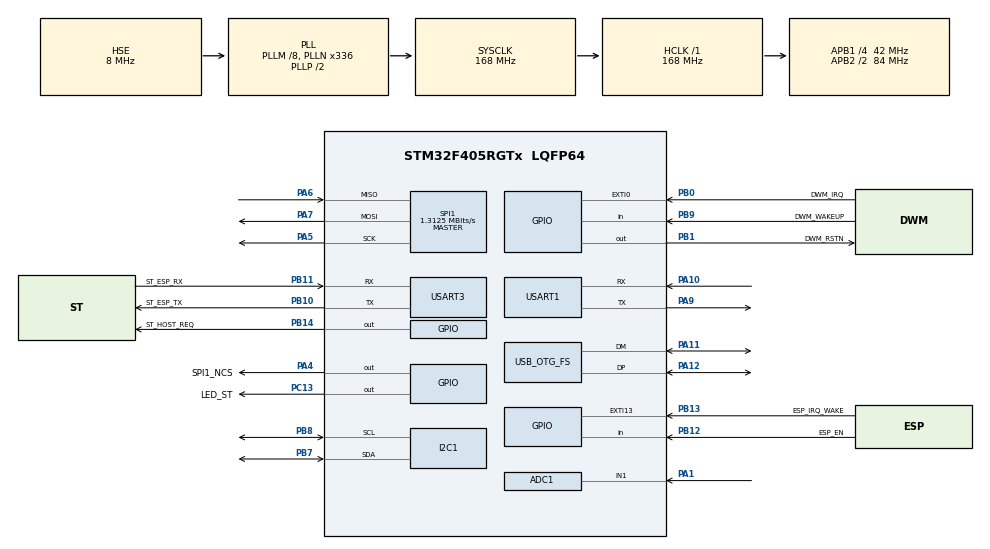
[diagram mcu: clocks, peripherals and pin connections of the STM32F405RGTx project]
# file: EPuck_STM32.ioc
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ADC1.Channel-0\#ChannelRegularConversion=ADC_CHANNEL_1
ADC1.NbrOfConversionFlag=1
ADC1.Rank-0\#ChannelRegularConversion=1
ADC1.SamplingTime-0\#ChannelRegularConversion=ADC_SAMPLETIME_3CYCLES
ADC1.master=1
Mcu.Family=STM32F4
Mcu.Name=STM32F405RGTx
Mcu.Package=LQFP64
NVIC.EXTI0_IRQn=true\:5\:0\:true\:false\:true\:true\:true\:true
NVIC.OTG_FS_IRQn=true\:0\:0\:false\:false\:true\:false\:true\:true
NVIC.PriorityGroup=NVIC_PRIORITYGROUP_4
PA1.Signal=ADCx_IN1
PA10.Mode=Asynchronous
PA10.Signal=USART1_RX
PA11.Mode=Device_Only
PA11.Signal=USB_OTG_FS_DM
PA12.Mode=Device_Only
PA12.Signal=USB_OTG_FS_DP
PA13.Mode=Serial_Wire
PA13.Signal=SYS_JTMS-SWDIO
PA14.Mode=Serial_Wire
PA14.Signal=SYS_JTCK-SWCLK
PA4.GPIO_Label=SPI1_NCS
PA4.PinState=GPIO_PIN_SET
PA4.Signal=GPIO_Output
PA5.GPIO_Speed=GPIO_SPEED_FREQ_VERY_HIGH
PA5.Mode=Full_Duplex_Master
PA5.Signal=SPI1_SCK
PA6.GPIO_Speed=GPIO_SPEED_FREQ_VERY_HIGH
PA6.Mode=Full_Duplex_Master
PA6.Signal=SPI1_MISO
PA7.GPIO_Speed=GPIO_SPEED_FREQ_VERY_HIGH
PA7.Mode=Full_Duplex_Master
PA7.Signal=SPI1_MOSI
PA9.Mode=Asynchronous
PA9.Signal=USART1_TX
PB0.GPIO_Label=DWM_IRQ
PB0.Signal=GPXTI0
PB1.GPIO_Label=DWM_RSTN
PB1.PinState=GPIO_PIN_SET
PB1.Signal=GPIO_Output
PB10.GPIO_Label=ST_ESP_TX
PB10.Mode=Asynchronous
PB10.Signal=USART3_TX
PB11.GPIO_Label=ST_ESP_RX
PB11.Mode=Asynchronous
PB11.Signal=USART3_RX
PB12.GPIO_Label=ESP_EN
PB12.Signal=GPIO_Input
PB13.GPIO_Label=ESP_IRQ_WAKE
PB13.Signal=GPXTI13
PB14.GPIO_Label=ST_HOST_REQ
PB14.Signal=GPIO_Output
PB3.Signal=SYS_JTDO-SWO
PB7.Mode=I2C
PB7.Signal=I2C1_SDA
PB8.Mode=I2C
PB8.Signal=I2C1_SCL
PB9.GPIO_Label=DWM_WAKEUP
PB9.Signal=GPIO_Input
PC13-ANTI_TAMP.GPIO_Label=LED_ST
PC13-ANTI_TAMP.Signal=GPIO_Output
PH0-OSC_IN.Mode=HSE-External-Oscillator
PH0-OSC_IN.Signal=RCC_OSC_IN
PH1-OSC_OUT.Mode=HSE-External-Oscillator
PH1-OSC_OUT.Signal=RCC_OSC_OUT
ProjectManager.HeapSize=0x200
ProjectManager.StackSize=0x400
ProjectManager.TargetToolchain=CMake
RCC.48MHZClocksFreq_Value=48000000
RCC.AHBFreq_Value=168000000
RCC.APB1CLKDivider=RCC_HCLK_DIV4
RCC.APB1Freq_Value=42000000
RCC.APB1TimFreq_Value=84000000
RCC.APB2CLKDivider=RCC_HCLK_DIV2
RCC.APB2Freq_Value=84000000
RCC.APB2TimFreq_Value=168000000
RCC.CortexFreq_Value=168000000
RCC.HCLKFreq_Value=168000000
RCC.HSE_VALUE=8000000
RCC.HSI_VALUE=16000000
RCC.LSE_VALUE=32768
RCC.PLLM=8
RCC.PLLN=336
RCC.PLLQ=7
RCC.SYSCLKFreq_VALUE=168000000
RCC.SYSCLKSource=RCC_SYSCLKSOURCE_PLLCLK
RCC.VCOOutputFreq_Value=336000000
SH.ADCx_IN1.0=ADC1_IN1,IN1
SPI1.BaudRatePrescaler=SPI_BAUDRATEPRESCALER_64
SPI1.CalculateBaudRate=1.3125 MBits/s
SPI1.Direction=SPI_DIRECTION_2LINES
SPI1.Mode=SPI_MODE_MASTER
SPI1.VirtualType=VM_MASTER
USART1.VirtualMode=VM_ASYNC
USART3.VirtualMode=VM_ASYNC
USB_DEVICE.CLASS_NAME_FS=CDC
USB_DEVICE.VirtualMode-CDC_FS=Cdc
USB_DEVICE.VirtualModeFS=Cdc_FS
USB_OTG_FS.VirtualMode=Device_Only
VP_USB_DEVICE_VS_USB_DEVICE_CDC_FS.Mode=CDC_FS
board=custom

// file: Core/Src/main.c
/* USER CODE BEGIN Header */
/**
  ******************************************************************************
  * @file           : main.c
  * @brief          : Main program body
  ******************************************************************************
  * @attention
  *
  * Copyright (c) 2026 STMicroelectronics.
  * All rights reserved.
  *
  * This software is licensed under terms that can be found in the LICENSE file
  * in the root directory of this software component.
  * If no LICENSE file comes with this software, it is provided AS-IS.
  *
  ******************************************************************************
  */
/* USER CODE END Header */
#include "main.h"
#include "usb_device.h"

/* USER CODE BEGIN Includes */
#include "usbd_cdc_if.h"
#include "epuck_link.h"
#include "uwb_link.h"
#include "usb_console.h"
#include "esp_link.h"
#include <stdio.h>
/* USER CODE END Includes */

// LED
#define LED_FREQ 1U

ADC_HandleTypeDef hadc1;

I2C_HandleTypeDef hi2c1;

SPI_HandleTypeDef hspi1;

UART_HandleTypeDef huart1;
UART_HandleTypeDef huart3;

/* USER CODE BEGIN PV */
uint32_t led_last_toggle_tick = 0U;
uint32_t led_toggle_period_ms = 0U;
/* USER CODE END PV */

void SystemClock_Config(void);
static void MX_GPIO_Init(void);
static void MX_ADC1_Init(void);
static void MX_I2C1_Init(void);
static void MX_SPI1_Init(void);
static void MX_USART1_UART_Init(void);
static void MX_USART3_UART_Init(void);

/* USER CODE BEGIN 0 */
int _write(int file, char *ptr, int len)
{
  CDC_Transmit_FS((uint8_t *)ptr, len);
  return len;
}

/* USER CODE END 0 */

int main(void)
{

  /* MCU Configuration--------------------------------------------------------*/

  /* Reset of all peripherals, Initializes the Flash interface and the Systick. */
  HAL_Init();

  /* Configure the system clock */
  SystemClock_Config();

  /* Initialize all configured peripherals */
  MX_GPIO_Init();
  MX_ADC1_Init();
  MX_I2C1_Init();
  MX_SPI1_Init();
  MX_USART1_UART_Init();
  MX_USART3_UART_Init();
  MX_USB_DEVICE_Init();
  /* USER CODE BEGIN 2 */
  esp_link_init();
  epuck_link_init();
  epuck_link_boot_safety();
  HAL_GPIO_WritePin(LED_ST_GPIO_Port, LED_ST_Pin, GPIO_PIN_RESET);

  led_toggle_period_ms = 1000U / (2U * LED_FREQ);
  led_last_toggle_tick = HAL_GetTick();

  uwb_link_init();
  /* USER CODE END 2 */

  /* Infinite loop */
  /* USER CODE BEGIN WHILE */
  while (1)
  {
    uint32_t now = HAL_GetTick();

    usb_console_task();
    uwb_link_task();
    esp_link_task();
    epuck_link_task();

    if ((now - led_last_toggle_tick) >= led_toggle_period_ms)
    {
      led_last_toggle_tick = now;
      HAL_GPIO_TogglePin(LED_ST_GPIO_Port, LED_ST_Pin);
    }
    /* USER CODE END WHILE */

  }
}

void SystemClock_Config(void)
{
  RCC_OscInitTypeDef RCC_OscInitStruct = {0};
  RCC_ClkInitTypeDef RCC_ClkInitStruct = {0};

  /** Configure the main internal regulator output voltage
  */
  __HAL_RCC_PWR_CLK_ENABLE();
  __HAL_PWR_VOLTAGESCALING_CONFIG(PWR_REGULATOR_VOLTAGE_SCALE1);

  /** Initializes the RCC Oscillators according to the specified parameters
  * in the RCC_OscInitTypeDef structure.
  */
  RCC_OscInitStruct.OscillatorType = RCC_OSCILLATORTYPE_HSE;
  RCC_OscInitStruct.HSEState = RCC_HSE_ON;
  RCC_OscInitStruct.PLL.PLLState = RCC_PLL_ON;
  RCC_OscInitStruct.PLL.PLLSource = RCC_PLLSOURCE_HSE;
  RCC_OscInitStruct.PLL.PLLM = 8;
  RCC_OscInitStruct.PLL.PLLN = 336;
  RCC_OscInitStruct.PLL.PLLP = RCC_PLLP_DIV2;
  RCC_OscInitStruct.PLL.PLLQ = 7;
  if (HAL_RCC_OscConfig(&RCC_OscInitStruct) != HAL_OK)
  {
    Error_Handler();
  }

  /** Initializes the CPU, AHB and APB buses clocks
  */
  RCC_ClkInitStruct.ClockType = RCC_CLOCKTYPE_HCLK|RCC_CLOCKTYPE_SYSCLK
                              |RCC_CLOCKTYPE_PCLK1|RCC_CLOCKTYPE_PCLK2;
  RCC_ClkInitStruct.SYSCLKSource = RCC_SYSCLKSOURCE_PLLCLK;
  RCC_ClkInitStruct.AHBCLKDivider = RCC_SYSCLK_DIV1;
  RCC_ClkInitStruct.APB1CLKDivider = RCC_HCLK_DIV4;
  RCC_ClkInitStruct.APB2CLKDivider = RCC_HCLK_DIV2;

  if (HAL_RCC_ClockConfig(&RCC_ClkInitStruct, FLASH_LATENCY_5) != HAL_OK)
  {
    Error_Handler();
  }
}

static void MX_ADC1_Init(void)
{

  ADC_ChannelConfTypeDef sConfig = {0};

  /** Configure the global features of the ADC (Clock, Resolution, Data Alignment and number of conversion)
  */
  hadc1.Instance = ADC1;
  hadc1.Init.ClockPrescaler = ADC_CLOCK_SYNC_PCLK_DIV4;
  hadc1.Init.Resolution = ADC_RESOLUTION_12B;
  hadc1.Init.ScanConvMode = DISABLE;
  hadc1.Init.ContinuousConvMode = DISABLE;
  hadc1.Init.DiscontinuousConvMode = DISABLE;
  hadc1.Init.ExternalTrigConvEdge = ADC_EXTERNALTRIGCONVEDGE_NONE;
  hadc1.Init.ExternalTrigConv = ADC_SOFTWARE_START;
  hadc1.Init.DataAlign = ADC_DATAALIGN_RIGHT;
  hadc1.Init.NbrOfConversion = 1;
  hadc1.Init.DMAContinuousRequests = DISABLE;
  hadc1.Init.EOCSelection = ADC_EOC_SINGLE_CONV;
  if (HAL_ADC_Init(&hadc1) != HAL_OK)
  {
    Error_Handler();
  }

  /** Configure for the selected ADC regular channel its corresponding rank in the sequencer and its sample time.
  */
  sConfig.Channel = ADC_CHANNEL_1;
  sConfig.Rank = 1;
  sConfig.SamplingTime = ADC_SAMPLETIME_3CYCLES;
  if (HAL_ADC_ConfigChannel(&hadc1, &sConfig) != HAL_OK)
  {
    Error_Handler();
  }

}

static void MX_I2C1_Init(void)
{

  hi2c1.Instance = I2C1;
  hi2c1.Init.ClockSpeed = 100000;
  hi2c1.Init.DutyCycle = I2C_DUTYCYCLE_2;
  hi2c1.Init.OwnAddress1 = 0;
  hi2c1.Init.AddressingMode = I2C_ADDRESSINGMODE_7BIT;
  hi2c1.Init.DualAddressMode = I2C_DUALADDRESS_DISABLE;
  hi2c1.Init.OwnAddress2 = 0;
  hi2c1.Init.GeneralCallMode = I2C_GENERALCALL_DISABLE;
  hi2c1.Init.NoStretchMode = I2C_NOSTRETCH_DISABLE;
  if (HAL_I2C_Init(&hi2c1) != HAL_OK)
  {
    Error_Handler();
  }

}

static void MX_SPI1_Init(void)
{

  /* SPI1 parameter configuration*/
  hspi1.Instance = SPI1;
  hspi1.Init.Mode = SPI_MODE_MASTER;
  hspi1.Init.Direction = SPI_DIRECTION_2LINES;
  hspi1.Init.DataSize = SPI_DATASIZE_8BIT;
  hspi1.Init.CLKPolarity = SPI_POLARITY_LOW;
  hspi1.Init.CLKPhase = SPI_PHASE_1EDGE;
  hspi1.Init.NSS = SPI_NSS_SOFT;
  hspi1.Init.BaudRatePrescaler = SPI_BAUDRATEPRESCALER_64;
  hspi1.Init.FirstBit = SPI_FIRSTBIT_MSB;
  hspi1.Init.TIMode = SPI_TIMODE_DISABLE;
  hspi1.Init.CRCCalculation = SPI_CRCCALCULATION_DISABLE;
  hspi1.Init.CRCPolynomial = 10;
  if (HAL_SPI_Init(&hspi1) != HAL_OK)
  {
    Error_Handler();
  }

}

static void MX_USART1_UART_Init(void)
{

  huart1.Instance = USART1;
  huart1.Init.BaudRate = 115200;
  huart1.Init.WordLength = UART_WORDLENGTH_8B;
  huart1.Init.StopBits = UART_STOPBITS_1;
  huart1.Init.Parity = UART_PARITY_NONE;
  huart1.Init.Mode = UART_MODE_TX_RX;
  huart1.Init.HwFlowCtl = UART_HWCONTROL_NONE;
  huart1.Init.OverSampling = UART_OVERSAMPLING_16;
  if (HAL_UART_Init(&huart1) != HAL_OK)
  {
    Error_Handler();
  }

}

static void MX_USART3_UART_Init(void)
{

  huart3.Instance = USART3;
  huart3.Init.BaudRate = APP_ESP_BAUD;
  huart3.Init.WordLength = UART_WORDLENGTH_8B;
  huart3.Init.StopBits = UART_STOPBITS_1;
  huart3.Init.Parity = UART_PARITY_NONE;
  huart3.Init.Mode = UART_MODE_TX_RX;
  huart3.Init.HwFlowCtl = UART_HWCONTROL_NONE;
  huart3.Init.OverSampling = UART_OVERSAMPLING_16;
  if (HAL_UART_Init(&huart3) != HAL_OK)
  {
    Error_Handler();
  }
  /* USER CODE BEGIN USART3_Init 2 */
#if APP_ESP_BAUD == 921600
  /* Bundled HAL truncates USARTDIV to hundredths before fractional rounding,
   * selecting45 at42MHz. Nearest oversampling16 divider46 reduces baud error.
   * UART1 and the legacy115200 configuration are deliberately untouched. */
  huart3.Instance->BRR = APP_ESP_BRR_NEAREST(HAL_RCC_GetPCLK1Freq(), APP_ESP_BAUD);
#endif

  /* USER CODE END USART3_Init 2 */

}

static void MX_GPIO_Init(void)
{
  GPIO_InitTypeDef GPIO_InitStruct = {0};

  /* GPIO Ports Clock Enable */
  __HAL_RCC_GPIOC_CLK_ENABLE();
  __HAL_RCC_GPIOH_CLK_ENABLE();
  __HAL_RCC_GPIOA_CLK_ENABLE();
  __HAL_RCC_GPIOB_CLK_ENABLE();

  /*Configure GPIO pin Output Level */
  HAL_GPIO_WritePin(LED_ST_GPIO_Port, LED_ST_Pin, GPIO_PIN_RESET);

  /*Configure GPIO pin Output Level */
  HAL_GPIO_WritePin(SPI1_NCS_GPIO_Port, SPI1_NCS_Pin, GPIO_PIN_SET);

  /*Configure GPIO pin Output Level */
  HAL_GPIO_WritePin(DWM_RSTN_GPIO_Port, DWM_RSTN_Pin, GPIO_PIN_SET);

  /*Configure GPIO pin Output Level */
  HAL_GPIO_WritePin(ST_HOST_REQ_GPIO_Port, ST_HOST_REQ_Pin, GPIO_PIN_RESET);

  /*Configure GPIO pin : LED_ST_Pin */
  GPIO_InitStruct.Pin = LED_ST_Pin;
  GPIO_InitStruct.Mode = GPIO_MODE_OUTPUT_PP;
  GPIO_InitStruct.Pull = GPIO_NOPULL;
  GPIO_InitStruct.Speed = GPIO_SPEED_FREQ_LOW;
  HAL_GPIO_Init(LED_ST_GPIO_Port, &GPIO_InitStruct);

  /*Configure GPIO pin : SPI1_NCS_Pin */
  GPIO_InitStruct.Pin = SPI1_NCS_Pin;
  GPIO_InitStruct.Mode = GPIO_MODE_OUTPUT_PP;
  GPIO_InitStruct.Pull = GPIO_NOPULL;
  GPIO_InitStruct.Speed = GPIO_SPEED_FREQ_LOW;
  HAL_GPIO_Init(SPI1_NCS_GPIO_Port, &GPIO_InitStruct);

  /*Configure GPIO pins : DWM_IRQ_Pin ESP_IRQ_WAKE_Pin */
  GPIO_InitStruct.Pin = DWM_IRQ_Pin|ESP_IRQ_WAKE_Pin;
  GPIO_InitStruct.Mode = GPIO_MODE_IT_RISING;
  GPIO_InitStruct.Pull = GPIO_NOPULL;
  HAL_GPIO_Init(GPIOB, &GPIO_InitStruct);

  /*Configure GPIO pins : DWM_RSTN_Pin ST_HOST_REQ_Pin */
  GPIO_InitStruct.Pin = DWM_RSTN_Pin|ST_HOST_REQ_Pin;
  GPIO_InitStruct.Mode = GPIO_MODE_OUTPUT_PP;
  GPIO_InitStruct.Pull = GPIO_NOPULL;
  GPIO_InitStruct.Speed = GPIO_SPEED_FREQ_LOW;
  HAL_GPIO_Init(GPIOB, &GPIO_InitStruct);

  /*Configure GPIO pins : ESP_EN_Pin DWM_WAKEUP_Pin */
  GPIO_InitStruct.Pin = ESP_EN_Pin|DWM_WAKEUP_Pin;
  GPIO_InitStruct.Mode = GPIO_MODE_INPUT;
  GPIO_InitStruct.Pull = GPIO_NOPULL;
  HAL_GPIO_Init(GPIOB, &GPIO_InitStruct);

  /* EXTI interrupt init*/
  HAL_NVIC_SetPriority(EXTI0_IRQn, 5, 0);
  HAL_NVIC_EnableIRQ(EXTI0_IRQn);

}

/* USER CODE BEGIN 4 */

void HAL_GPIO_EXTI_Callback(uint16_t GPIO_Pin)
{
  if (GPIO_Pin == DWM_IRQ_Pin)
  {
    uwb_link_exti_callback(GPIO_Pin);
  }
}

/* USER CODE END 4 */

void Error_Handler(void)
{
  __disable_irq();
  while (1)
  {
  }
}
